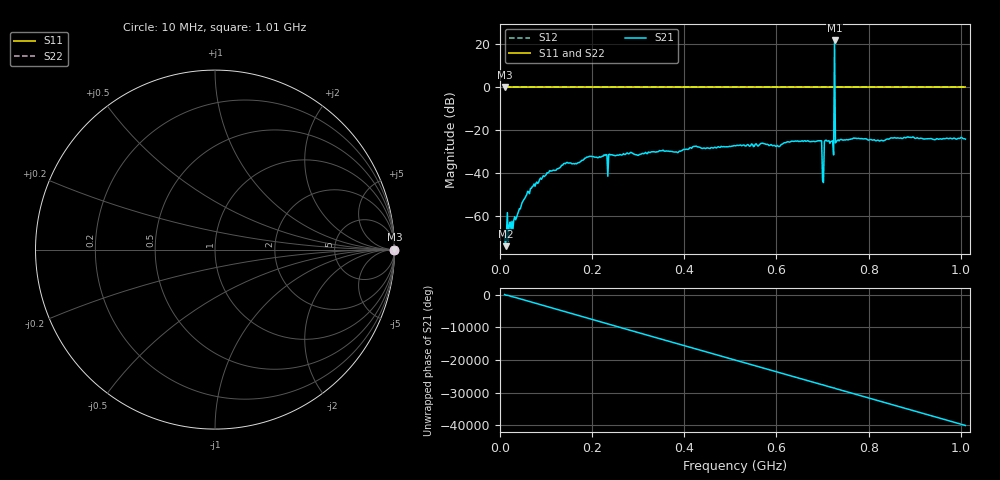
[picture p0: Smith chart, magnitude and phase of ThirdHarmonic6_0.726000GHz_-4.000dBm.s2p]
! 8/16/2025 12:16:27 AM
! C:\ANRITSUVNA\TEMP\TEMP.S2P
! CHANNEL.1
! TR.MEASUREMENT
! RAW.DATA
! RF.CORRECTION.OFF
! AVERAGING.OFF
! IF.BANDWIDTH: 5KHZ
! SWEEPTYPE:  FREQ.SWEEP(Linear)
! Reference Plane Port Info
! PORT:  PORT1  PORT2
! DISTANCE:  0  m  0  m
! TIME:  0  s  0  s
! PHASE.OFFSET:  0  deg.  0  deg.
! LOSS:  0  dB  0  dB
! REF.LOSS:  0  dB  0  dB
! REF.FREQ:  0  Hz  0  Hz
! Power Info
! POWER:  -20  dBm  -20  dBm
! EFF.POWER:  -20  dBm  -20  dBm
! SOURCE.ATTEN:  0  dB  0  dB
! TEST.ATTEN:  0  dB  0  dB
# GHZ S RI R 50.0
! FREQ.GHZ  S11RE  S11IM  S21RE  S21IM  S12RE  S12IM  S22RE  S22IM
!; PortSelection: Port_12
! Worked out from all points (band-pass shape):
!   501 points, 10 MHz to 1.01 GHz, reference 50 ohm
!   highest |S21| = 21.62 dB at 726 MHz (marker M1); lowest = -74.2 dB at 12 MHz (marker M2)
!   |S21| within 3 dB of the highest: 725.8875 MHz to 726.1257 MHz (238.2 kHz wide, 0.0328 % of centre)
!   lowest |S11| = 0.0 dB at 10 MHz (marker M3)
!   |S11| at or under -10 dB: nowhere
!   |S22| runs from 0.0 to 0.0 dB; largest |S21 - S12| = 13
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0.01  1 0  -0.000229 0.000247  1 0  1 0
0.012  1 0  0.000195 2.9e-06  1 0  1 0
0.032  1 0  0.000936 0.000142  1 0  1 0
0.052  1 0  0.000207 -0.00237  1 0  1 0
0.07  1 0  -0.0021 -0.00424  1 0  1 0
0.142  1 0  -0.0151 -0.00589  1 0  1 0
0.178  1 0  -0.0192 -0.00422  1 0  1 0
0.344  1 0  0.0303 -0.00771  1 0  1 0
0.51  1 0  -0.0389 0.0173  1 0  1 0
0.678  1 0  -0.0267 -0.0462  1 0  1 0
0.694  1 0  0.0399 -0.0388  1 0  1 0
0.698  1 0  -0.051 0.0214  1 0  1 0
0.7  1 0  -0.00357 0.00569  1 0  1 0
0.704  1 0  0.004 -0.0534  1 0  1 0
0.708  1 0  -0.0189 0.0541  1 0  1 0
0.72  1 0  0.0534 -0.00871  1 0  1 0
0.722  1 0  -0.000272 -0.0555  1 0  1 0
0.726  1 0  -11.88 -2.031  1 0  1 0
0.73  1 0  0.0323 -0.0425  1 0  1 0
0.732  1 0  -0.0367 -0.0424  1 0  1 0
0.844  1 0  0.046 0.0396  1 0  1 0
1.01  1 0  -0.0596 -0.0111  1 0  1 0
